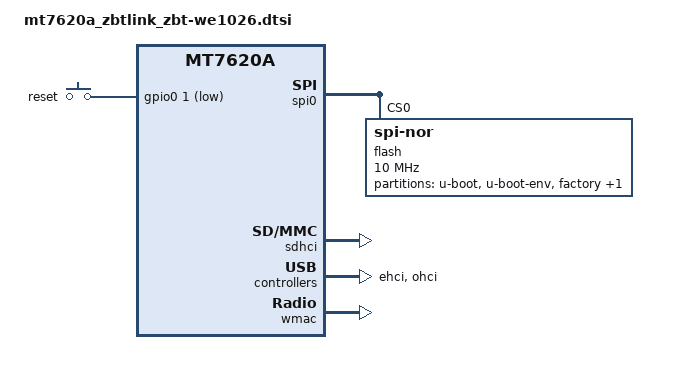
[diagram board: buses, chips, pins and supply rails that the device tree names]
// SPDX-License-Identifier: GPL-2.0-or-later OR MIT

#include "mt7620a.dtsi"

#include <dt-bindings/gpio/gpio.h>
#include <dt-bindings/input/input.h>

/ {
	compatible = "zbtlink,zbt-we1026", "ralink,mt7620a-soc";

	chosen {
		bootargs = "console=ttyS0,115200";
	};

	keys {
		compatible = "gpio-keys";

		reset {
			label = "reset";
			gpios = <&gpio0 1 GPIO_ACTIVE_LOW>;
			linux,code = <KEY_RESTART>;
		};
	};

	aliases {
		label-mac-device = &wmac;
	};
};

&spi0 {
	status = "okay";

	flash@0 {
		compatible = "jedec,spi-nor";
		reg = <0>;
		spi-max-frequency = <10000000>;

		partitions {
			compatible = "fixed-partitions";
			#address-cells = <1>;
			#size-cells = <1>;

			partition@0 {
				label = "u-boot";
				reg = <0x0 0x30000>;
				read-only;
			};

			partition@30000 {
				label = "u-boot-env";
				reg = <0x30000 0x10000>;
				read-only;
			};

			factory: partition@40000 {
				label = "factory";
				reg = <0x40000 0x10000>;
				read-only;
			};

			firmware: partition@50000 {
				compatible = "denx,uimage";
				label = "firmware";
			};
		};
	};
};

&gpio2 {
	status = "okay";
};

&gpio3 {
	status = "okay";
};

&sdhci {
	status = "okay";
};

&ehci {
	status = "okay";
};

&ohci {
	status = "okay";
};

&ethernet {
	mtd-mac-address = <&factory 0x28>;
};

&wmac {
	ralink,mtd-eeprom = <&factory 0x0>;
};

&state_default {
	default {
		groups = "i2c", "uartf", "spi refclk", "ephy", "wled";
		function = "gpio";
	};
};
